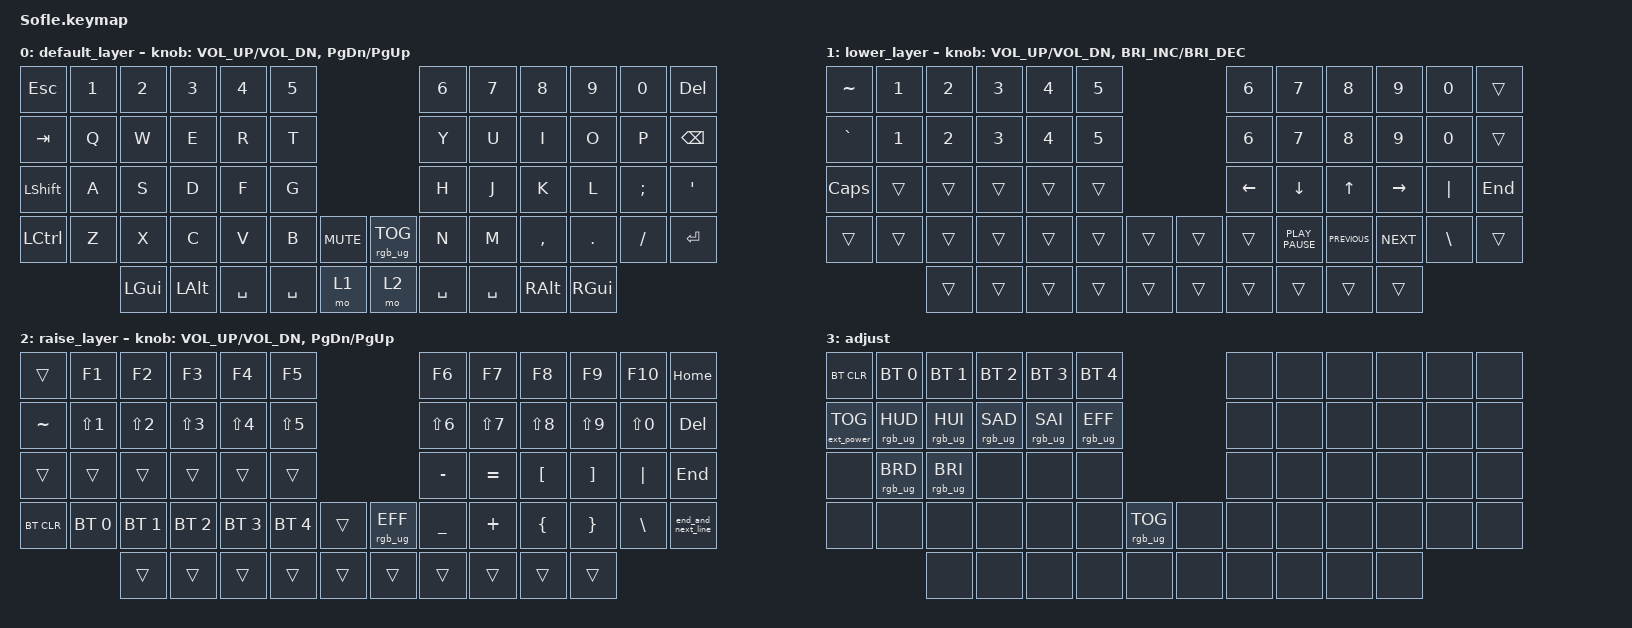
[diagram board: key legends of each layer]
/*
 * Copyright (c) 2020 The ZMK Contributors
 *
 * SPDX-License-Identifier: MIT
 */

#include <behaviors.dtsi>
#include <dt-bindings/zmk/bt.h>
#include <dt-bindings/zmk/ext_power.h>
#include <dt-bindings/zmk/keys.h>
#include <dt-bindings/zmk/rgb.h>

#define BASE 0
#define LOWER 1
#define RAISE 2
#define ADJUST 3

/ {
    // Activate ADJUST layer by pressing raise and lower

    conditional_layers {
        compatible = "zmk,conditional-layers";

        adjust_layer {
            if-layers = <LOWER RAISE>;
            then-layer = <ADJUST>;
        };
    };

    macros {
        end_and_next_line: end_and_next_line {
            compatible = "zmk,behavior-macro";
            #binding-cells = <0>;
            bindings = <&kp END &kp ENTER>;
            label = "END_AND_NEXT_LINE";
        };
    };

    keymap {
        compatible = "zmk,keymap";

        default_layer {
            // ------------------------------------------------------------------------------------------------------------
            // |   `   |  1  |  2  |  3   |  4   |  5   |                   |  6   |  7    |  8    |  9   |   0   |       |
            // |  ESC  |  Q  |  W  |  E   |  R   |  T   |                   |  Y   |  U    |  I    |  O   |   P   | BKSPC |
            // |  TAB  |  A  |  S  |  D   |  F   |  G   |                   |  H   |  J    |  K    |  L   |   ;   |   '   |
            // | SHIFT |  Z  |  X  |  C   |  V   |  B   |  MUTE  |  |       |  N   |  M    |  ,    |  .   |   /   | SHIFT |
            //               | GUI | ALT  | CTRL | LOWER|  ENTER |  | SPACE | RAISE| CTRL  | ALT   | GUI  |

            bindings = <
&kp ESC           &kp N1  &kp N2    &kp N3    &kp N4     &kp N5                                    &kp N6     &kp N7     &kp N8     &kp N9    &kp N0    &kp DELETE
&kp TAB           &kp Q   &kp W     &kp E     &kp R      &kp T                                     &kp Y      &kp U      &kp I      &kp O     &kp P     &kp BSPC
&kp LEFT_SHIFT    &kp A   &kp S     &kp D     &kp F      &kp G                                     &kp H      &kp J      &kp K      &kp L     &kp SEMI  &kp SQT
&kp LEFT_CONTROL  &kp Z   &kp X     &kp C     &kp V      &kp B      &kp C_MUTE    &rgb_ug RGB_TOG  &kp N      &kp M      &kp COMMA  &kp DOT   &kp FSLH  &kp ENTER
                          &kp LGUI  &kp LALT  &kp SPACE  &kp SPACE  &mo 1         &mo 2            &kp SPACE  &kp SPACE  &kp RALT   &kp RGUI
            >;

            sensor-bindings = <&inc_dec_kp C_VOL_UP C_VOL_DN &inc_dec_kp PG_DN PG_UP>;
        };

        lower_layer {
            // TODO: Some binds are waiting for shifted keycode support.
            // ------------------------------------------------------------------------------------------------------------
            // |       |  F1 |  F2 |  F3  |  F4  |  F5  |                   |  F6  |  F7   |  F8   |  F9  |  F10  |  F11  |
            // |   `   |  1  |  2  |  3   |  4   |  5   |                   |  6   |  7    |  8    |  9   |   0   |  F12  |
            // |       |  !  |  @  |  #   |  $   |  %   |                   |  ^   |  &    |  *    |  (   |   )   |   |   |
            // |       |  =  |  -  |  +   |  {   |  }   |        |  |       |  [   |  ]    |  ;    |  :   |   \   |       |
            //               |     |      |      |      |        |  |       |      |       |       |      |

            bindings = <
&kp TILDE  &kp NUMBER_1  &kp NUMBER_2  &kp NUMBER_3  &kp NUMBER_4  &kp NUMBER_5                    &kp NUMBER_6    &kp NUMBER_7      &kp NUMBER_8    &kp NUMBER_9  &kp NUMBER_0  &trans
&kp GRAVE  &kp N1        &kp N2        &kp N3        &kp N4        &kp N5                          &kp N6          &kp N7            &kp N8          &kp N9        &kp N0        &trans
&kp CAPS   &trans        &trans        &trans        &trans        &trans                          &kp LEFT_ARROW  &kp DOWN          &kp UP_ARROW    &kp RIGHT     &kp PIPE      &kp END
&trans     &trans        &trans        &trans        &trans        &trans        &trans    &trans  &trans          &kp K_PLAY_PAUSE  &kp K_PREVIOUS  &kp K_NEXT    &kp BSLH      &trans
                         &trans        &trans        &trans        &trans        &trans    &trans  &trans          &trans            &trans          &trans
            >;

            sensor-bindings = <&inc_dec_kp C_VOL_UP C_VOL_DN &inc_dec_kp C_BRIGHTNESS_INC C_BRIGHTNESS_DEC>;
        };

        raise_layer {
            // ------------------------------------------------------------------------------------------------------------
            // | BTCLR | BT1  | BT2  |  BT3  |  BT4  |  BT5 |                |      |      |       |      |       |       |
            // |       | INS  | PSCR | GUI   |       |      |                | PGUP |      |   ^   |      |       |       |
            // |       | ALT  | CTRL | SHIFT |       | CAPS |                | PGDN |   <- |   v   |  ->  |  DEL  | BKSPC |
            // |       | UNDO | CUT  | COPY  | PASTE |      |      |  |      |      |      |       |      |       |       |
            //                |      |       |       |      |      |  |      |      |      |       |      |

            bindings = <
&trans      &kp F1            &kp F2            &kp F3            &kp F4            &kp F5                                       &kp F6            &kp F7            &kp F8            &kp F9             &kp F10           &kp HOME
&kp TILDE   &kp LS(NUMBER_1)  &kp LS(NUMBER_2)  &kp LS(NUMBER_3)  &kp LS(NUMBER_4)  &kp LS(NUMBER_5)                             &kp LS(NUMBER_6)  &kp LS(NUMBER_7)  &kp LS(NUMBER_8)  &kp LS(NUMBER_9)   &kp LS(NUMBER_0)  &kp DEL
&trans      &trans            &trans            &trans            &trans            &trans                                       &kp MINUS         &kp EQUAL         &kp LEFT_BRACKET  &kp RIGHT_BRACKET  &kp PIPE          &kp END
&bt BT_CLR  &bt BT_SEL 0      &bt BT_SEL 1      &bt BT_SEL 2      &bt BT_SEL 3      &bt BT_SEL 4      &trans    &rgb_ug RGB_EFF  &kp UNDERSCORE    &kp PLUS          &kp LEFT_BRACE    &kp RIGHT_BRACE    &kp BACKSLASH     &end_and_next_line
                              &trans            &trans            &trans            &trans            &trans    &trans           &trans            &trans            &trans            &trans
            >;

            sensor-bindings = <&inc_dec_kp C_VOL_UP C_VOL_DN &inc_dec_kp PG_DN PG_UP>;
        };

        adjust_layer {
            // ----------------------------------------------------------------------------------------------------------------------------
            // | BTCLR  |  BT1    |  BT2    |   BT3   |   BT4   |   BT5   |                  |      |      |       |      |       |       |
            // | EXTPWR | RGB_HUD | RGB_HUI | RGB_SAD | RGB_SAI | RGB_EFF |                  |      |      |       |      |       |       |
            // |        | RGB_BRD | RGB_BRI |         |         |         |                  |      |      |       |      |       |       |
            // |        |         |         |         |         |         | RGB_TOG | |      |      |      |       |      |       |       |
            //                    |         |         |         |         |         | |      |      |      |       |      |

            display-name = "adjust";
            bindings = <
&bt BT_CLR         &bt BT_SEL 0     &bt BT_SEL 1     &bt BT_SEL 2     &bt BT_SEL 3     &bt BT_SEL 4                               &none  &none  &none  &none  &none  &none
&ext_power EP_TOG  &rgb_ug RGB_HUD  &rgb_ug RGB_HUI  &rgb_ug RGB_SAD  &rgb_ug RGB_SAI  &rgb_ug RGB_EFF                            &none  &none  &none  &none  &none  &none
&none              &rgb_ug RGB_BRD  &rgb_ug RGB_BRI  &none            &none            &none                                      &none  &none  &none  &none  &none  &none
&none              &none            &none            &none            &none            &none            &rgb_ug RGB_TOG    &none  &none  &none  &none  &none  &none  &none
                                    &none            &none            &none            &none            &none              &none  &none  &none  &none  &none
            >;
        };

        extra1 { status = "reserved"; };

        extra2 { status = "reserved"; };

        extra3 { status = "reserved"; };

        extra4 { status = "reserved"; };
    };
};
